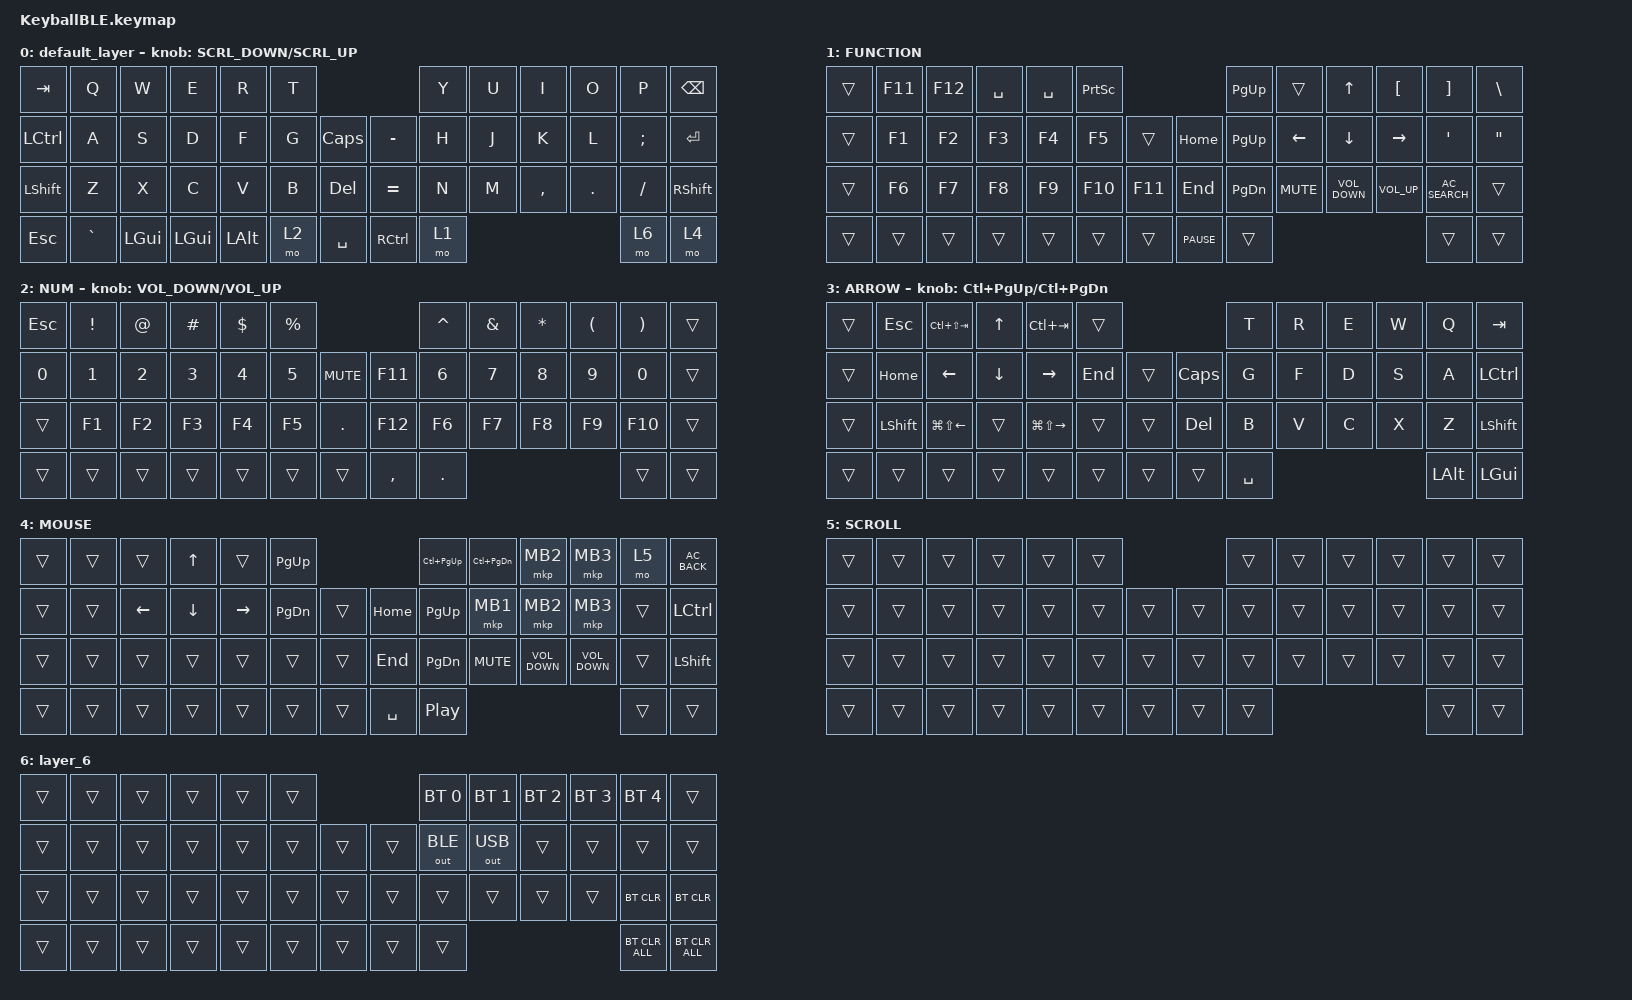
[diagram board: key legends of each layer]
#define ZMK_POINTING_DEFAULT_SCRL_VAL 120    // default: 10

#include <behaviors.dtsi>
#include <dt-bindings/zmk/bt.h>
#include <dt-bindings/zmk/keys.h>
#include <dt-bindings/zmk/outputs.h>
#include <dt-bindings/zmk/pointing.h>

#define MOUSE 4
#define SCROLL 5
#define NUM 6

&mt {
    flavor = "balanced";
    quick-tap-ms = <0>;
};

/ {
    combos {
        compatible = "zmk,combos";

        delete {
            bindings = <&kp DELETE>;
            key-positions = <26 11>;
        };
    };

    macros {
        to_layer_0: to_layer_0 {
            compatible = "zmk,behavior-macro-one-param";
            #binding-cells = <1>;
            bindings = <&to 0 &macro_param_1to1 &kp MACRO_PLACEHOLDER>;
            label = "TO_LAYER_0";
        };
    };

    behaviors {
        lt_to_layer_0: lt_to_layer_0 {
            compatible = "zmk,behavior-hold-tap";
            label = "LAYER_TAP_TO_0";
            bindings = <&mo>, <&to_layer_0>;

            #binding-cells = <2>;
            tapping-term-ms = <200>;
        };

        ROTATE: ROTATE {
            compatible = "zmk,behavior-sensor-rotate-var";
            label = "ROTATE";
            #sensor-binding-cells = <2>;
            bindings = <&msc>, <&msc>;

            tap-ms = <20>;
        };
    };

    keymap {
        compatible = "zmk,keymap";

        default_layer {
            bindings = <
&kp TAB           &kp Q      &kp W     &kp E         &kp R         &kp T                           &kp Y  &kp U  &kp I      &kp O    &kp P          &kp BSPC
&kp LEFT_CONTROL  &kp A      &kp S     &kp D         &kp F         &kp G  &kp CAPS      &kp MINUS  &kp H  &kp J  &kp K      &kp L    &kp SEMICOLON  &kp ENTER
&kp LSHFT         &kp Z      &kp X     &kp C         &kp V         &kp B  &kp DELETE    &kp EQUAL  &kp N  &kp M  &kp COMMA  &kp DOT  &kp FSLH       &kp RIGHT_SHIFT
&kp ESCAPE        &kp GRAVE  &kp LGUI  &kp LEFT_GUI  &kp LEFT_ALT  &mo 2  &kp SPACE     &kp RCTRL  &mo 1                             &mo 6          &mo 4
            >;

            sensor-bindings = <&ROTATE SCRL_DOWN SCRL_UP>;
        };

        FUNCTION {
            bindings = <
&trans  &kp F11  &kp F12  &kp SPACE  &kp SPACE  &kp PRINTSCREEN                          &kp PAGE_UP    &trans      &kp UP             &kp LBKT         &kp RBKT         &kp BSLH
&trans  &kp F1   &kp F2   &kp F3     &kp F4     &kp F5           &trans     &kp HOME     &kp PAGE_UP    &kp LEFT    &kp DOWN           &kp RIGHT_ARROW  &kp SQT          &kp DOUBLE_QUOTES
&trans  &kp F6   &kp F7   &kp F8     &kp F9     &kp F10          &kp F11    &kp END      &kp PAGE_DOWN  &kp C_MUTE  &kp C_VOLUME_DOWN  &kp C_VOLUME_UP  &kp C_AC_SEARCH  &trans
&trans  &trans   &trans   &trans     &trans     &trans           &trans     &kp C_PAUSE  &trans                                                         &trans           &trans
            >;
        };

        NUM {
            bindings = <
&kp ESCAPE  &kp EXCLAMATION  &kp AT  &kp HASH  &kp DOLLAR  &kp PERCENT                           &kp CARET   &kp AMPERSAND  &kp ASTERISK  &kp LEFT_PARENTHESIS  &kp RIGHT_PARENTHESIS  &trans
&kp N0      &kp N1           &kp N2  &kp N3    &kp N4      &kp N5       &kp C_MUTE    &kp F11    &kp N6      &kp N7         &kp N8        &kp N9                &kp N0                 &trans
&trans      &kp F1           &kp F2  &kp F3    &kp F4      &kp F5       &kp PERIOD    &kp F12    &kp F6      &kp F7         &kp F8        &kp F9                &kp F10                &trans
&trans      &trans           &trans  &trans    &trans      &trans       &trans        &kp COMMA  &kp PERIOD                                                     &trans                 &trans
            >;

            sensor-bindings = <&inc_dec_kp C_VOLUME_DOWN C_VOLUME_UP>;
        };

        ARROW {
            bindings = <
&trans  &kp ESCAPE      &kp LC(LS(TAB))         &kp UP_ARROW    &kp LC(TAB)              &trans                           &kp T      &kp R  &kp E  &kp W  &kp Q     &kp TAB
&trans  &kp HOME        &kp LEFT_ARROW          &kp DOWN_ARROW  &kp RIGHT_ARROW          &kp END  &trans    &kp CAPSLOCK  &kp G      &kp F  &kp D  &kp S  &kp A     &kp LCTRL
&trans  &kp LEFT_SHIFT  &kp LG(LS(LEFT_ARROW))  &trans          &kp LG(LS(RIGHT_ARROW))  &trans   &trans    &kp DELETE    &kp B      &kp V  &kp C  &kp X  &kp Z     &kp LSHFT
&trans  &trans          &trans                  &trans          &trans                   &trans   &trans    &trans        &kp SPACE                       &kp LALT  &kp LGUI
            >;

            sensor-bindings = <&inc_dec_kp LC(PAGE_UP) LC(PAGE_DOWN)>;
        };

        MOUSE {
            bindings = <
&trans  &trans  &trans    &kp UP          &trans     &kp PG_UP                       &kp LC(PAGE_UP)   &kp LC(PAGE_DOWN)  &mkp MB2           &mkp MB3           &mo 5   &kp C_AC_BACK
&trans  &trans  &kp LEFT  &kp DOWN_ARROW  &kp RIGHT  &kp PG_DN  &trans    &kp HOME   &kp PAGE_UP       &mkp MB1           &mkp MB2           &mkp MB3           &trans  &kp LCTRL
&trans  &trans  &trans    &trans          &trans     &trans     &trans    &kp END    &kp PAGE_DOWN     &kp C_MUTE         &kp C_VOLUME_DOWN  &kp C_VOLUME_DOWN  &trans  &kp LSHFT
&trans  &trans  &trans    &trans          &trans     &trans     &trans    &kp SPACE  &kp C_PLAY_PAUSE                                                           &trans  &trans
            >;
        };

        SCROLL {
            bindings = <
&trans  &trans  &trans  &trans  &trans  &trans                    &trans  &trans  &trans  &trans  &trans  &trans
&trans  &trans  &trans  &trans  &trans  &trans  &trans    &trans  &trans  &trans  &trans  &trans  &trans  &trans
&trans  &trans  &trans  &trans  &trans  &trans  &trans    &trans  &trans  &trans  &trans  &trans  &trans  &trans
&trans  &trans  &trans  &trans  &trans  &trans  &trans    &trans  &trans                          &trans  &trans
            >;
        };

        layer_6 {
            bindings = <
&trans  &trans  &trans  &trans  &trans  &trans                    &bt BT_SEL 0  &bt BT_SEL 1  &bt BT_SEL 2  &bt BT_SEL 3  &bt BT_SEL 4    &trans
&trans  &trans  &trans  &trans  &trans  &trans  &trans    &trans  &out OUT_BLE  &out OUT_USB  &trans        &trans        &trans          &trans
&trans  &trans  &trans  &trans  &trans  &trans  &trans    &trans  &trans        &trans        &trans        &trans        &bt BT_CLR      &bt BT_CLR
&trans  &trans  &trans  &trans  &trans  &trans  &trans    &trans  &trans                                                  &bt BT_CLR_ALL  &bt BT_CLR_ALL
            >;
        };
    };
};
